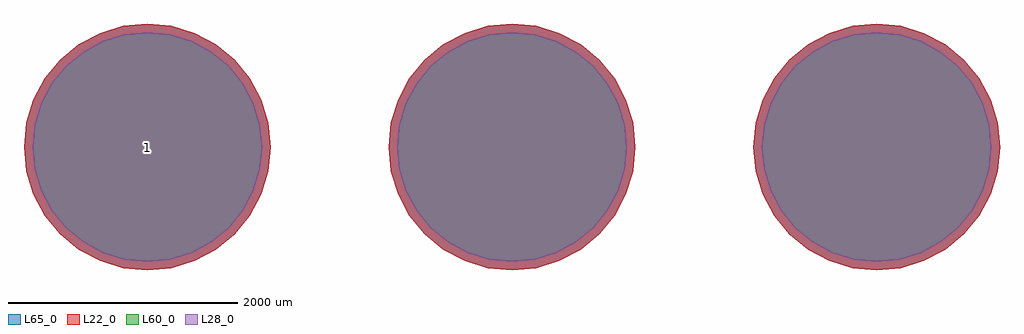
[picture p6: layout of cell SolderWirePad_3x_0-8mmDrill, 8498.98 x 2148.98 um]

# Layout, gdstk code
import gdstk
lib = gdstk.Library(unit=1e-6, precision=1e-09)
def P(c, l, *ps):  # polygons
    for p in ps: c.add(gdstk.Polygon(p, *l))
L22_0 = (22, 0)
L28_0 = (28, 0)
L60_0 = (60, 0)
L65_0 = (65, 0)

solderwirepad_3x_0_8mmdr = lib.new_cell('SolderWirePad_3x_0-8mmDrill')
P(solderwirepad_3x_0_8mmdr, L22_0, [(4249.49,0),(4228.844,209.623),(4167.699,411.19),(4068.406,596.955),(3934.779,759.779),(3771.955,893.406),(3586.19,992.699),(3384.623,1053.844),(3175,1074.49),(2965.377,1053.844),(2763.81,992.699),(2578.045,893.406),(2415.221,759.779),(2281.594,596.955),(2182.301,411.19),(2121.156,209.623),(2100.51,0),(2121.156,-209.623),(2182.301,-411.19),(2281.594,-596.955),(2415.221,-759.779),(2578.045,-893.406),(2763.81,-992.699),(2965.377,-1053.844),(3175,-1074.49),(3384.623,-1053.844),(3586.19,-992.699),(3771.955,-893.406),(3934.779,-759.779),(4068.406,-596.955),(4167.699,-411.19),(4228.844,-209.623)],
  [(1074.49,0),(1053.844,209.623),(992.699,411.19),(893.406,596.955),(759.779,759.779),(596.955,893.406),(411.19,992.699),(209.623,1053.844),(0,1074.49),(-209.623,1053.844),(-411.19,992.699),(-596.955,893.406),(-759.779,759.779),(-893.406,596.955),(-992.699,411.19),(-1053.844,209.623),(-1074.49,0),(-1053.844,-209.623),(-992.699,-411.19),(-893.406,-596.955),(-759.779,-759.779),(-596.955,-893.406),(-411.19,-992.699),(-209.623,-1053.844),(0,-1074.49),(209.623,-1053.844),(411.19,-992.699),(596.955,-893.406),(759.779,-759.779),(893.406,-596.955),(992.699,-411.19),(1053.844,-209.623)],
  [(-2100.51,0),(-2121.156,209.623),(-2182.301,411.19),(-2281.594,596.955),(-2415.221,759.779),(-2578.045,893.406),(-2763.81,992.699),(-2965.377,1053.844),(-3175,1074.49),(-3384.623,1053.844),(-3586.19,992.699),(-3771.955,893.406),(-3934.779,759.779),(-4068.406,596.955),(-4167.699,411.19),(-4228.844,209.623),(-4249.49,0),(-4228.844,-209.623),(-4167.699,-411.19),(-4068.406,-596.955),(-3934.779,-759.779),(-3771.955,-893.406),(-3586.19,-992.699),(-3384.623,-1053.844),(-3175,-1074.49),(-2965.377,-1053.844),(-2763.81,-992.699),(-2578.045,-893.406),(-2415.221,-759.779),(-2281.594,-596.955),(-2182.301,-411.19),(-2121.156,-209.623)])
P(solderwirepad_3x_0_8mmdr, L28_0, [(4174.49,0),(4155.285,194.991),(4098.408,382.488),(4006.046,555.287),(3881.746,706.746),(3730.287,831.046),(3557.488,923.408),(3369.991,980.285),(3175,999.49),(2980.009,980.285),(2792.512,923.408),(2619.713,831.046),(2468.254,706.746),(2343.954,555.287),(2251.592,382.488),(2194.715,194.991),(2175.51,0),(2194.715,-194.991),(2251.592,-382.488),(2343.954,-555.287),(2468.254,-706.746),(2619.713,-831.046),(2792.512,-923.408),(2980.009,-980.285),(3175,-999.49),(3369.991,-980.285),(3557.488,-923.408),(3730.287,-831.046),(3881.746,-706.746),(4006.046,-555.287),(4098.408,-382.488),(4155.285,-194.991)],
  [(999.49,0),(980.285,194.991),(923.408,382.488),(831.046,555.287),(706.746,706.746),(555.287,831.046),(382.488,923.408),(194.991,980.285),(0,999.49),(-194.991,980.285),(-382.488,923.408),(-555.287,831.046),(-706.746,706.746),(-831.046,555.287),(-923.408,382.488),(-980.285,194.991),(-999.49,0),(-980.285,-194.991),(-923.408,-382.488),(-831.046,-555.287),(-706.746,-706.746),(-555.287,-831.046),(-382.488,-923.408),(-194.991,-980.285),(0,-999.49),(194.991,-980.285),(382.488,-923.408),(555.287,-831.046),(706.746,-706.746),(831.046,-555.287),(923.408,-382.488),(980.285,-194.991)],
  [(-2175.51,0),(-2194.715,194.991),(-2251.592,382.488),(-2343.954,555.287),(-2468.254,706.746),(-2619.713,831.046),(-2792.512,923.408),(-2980.009,980.285),(-3175,999.49),(-3369.991,980.285),(-3557.488,923.408),(-3730.287,831.046),(-3881.746,706.746),(-4006.046,555.287),(-4098.408,382.488),(-4155.285,194.991),(-4174.49,0),(-4155.285,-194.991),(-4098.408,-382.488),(-4006.046,-555.287),(-3881.746,-706.746),(-3730.287,-831.046),(-3557.488,-923.408),(-3369.991,-980.285),(-3175,-999.49),(-2980.009,-980.285),(-2792.512,-923.408),(-2619.713,-831.046),(-2468.254,-706.746),(-2343.954,-555.287),(-2251.592,-382.488),(-2194.715,-194.991)])
P(solderwirepad_3x_0_8mmdr, L60_0, [(4174.49,0),(4155.285,194.991),(4098.408,382.488),(4006.046,555.287),(3881.746,706.746),(3730.287,831.046),(3557.488,923.408),(3369.991,980.285),(3175,999.49),(2980.009,980.285),(2792.512,923.408),(2619.713,831.046),(2468.254,706.746),(2343.954,555.287),(2251.592,382.488),(2194.715,194.991),(2175.51,0),(2194.715,-194.991),(2251.592,-382.488),(2343.954,-555.287),(2468.254,-706.746),(2619.713,-831.046),(2792.512,-923.408),(2980.009,-980.285),(3175,-999.49),(3369.991,-980.285),(3557.488,-923.408),(3730.287,-831.046),(3881.746,-706.746),(4006.046,-555.287),(4098.408,-382.488),(4155.285,-194.991)],
  [(999.49,0),(980.285,194.991),(923.408,382.488),(831.046,555.287),(706.746,706.746),(555.287,831.046),(382.488,923.408),(194.991,980.285),(0,999.49),(-194.991,980.285),(-382.488,923.408),(-555.287,831.046),(-706.746,706.746),(-831.046,555.287),(-923.408,382.488),(-980.285,194.991),(-999.49,0),(-980.285,-194.991),(-923.408,-382.488),(-831.046,-555.287),(-706.746,-706.746),(-555.287,-831.046),(-382.488,-923.408),(-194.991,-980.285),(0,-999.49),(194.991,-980.285),(382.488,-923.408),(555.287,-831.046),(706.746,-706.746),(831.046,-555.287),(923.408,-382.488),(980.285,-194.991)],
  [(-2175.51,0),(-2194.715,194.991),(-2251.592,382.488),(-2343.954,555.287),(-2468.254,706.746),(-2619.713,831.046),(-2792.512,923.408),(-2980.009,980.285),(-3175,999.49),(-3369.991,980.285),(-3557.488,923.408),(-3730.287,831.046),(-3881.746,706.746),(-4006.046,555.287),(-4098.408,382.488),(-4155.285,194.991),(-4174.49,0),(-4155.285,-194.991),(-4098.408,-382.488),(-4006.046,-555.287),(-3881.746,-706.746),(-3730.287,-831.046),(-3557.488,-923.408),(-3369.991,-980.285),(-3175,-999.49),(-2980.009,-980.285),(-2792.512,-923.408),(-2619.713,-831.046),(-2468.254,-706.746),(-2343.954,-555.287),(-2251.592,-382.488),(-2194.715,-194.991)])
P(solderwirepad_3x_0_8mmdr, L65_0, [(4249.49,0),(4228.844,209.623),(4167.699,411.19),(4068.406,596.955),(3934.779,759.779),(3771.955,893.406),(3586.19,992.699),(3384.623,1053.844),(3175,1074.49),(2965.377,1053.844),(2763.81,992.699),(2578.045,893.406),(2415.221,759.779),(2281.594,596.955),(2182.301,411.19),(2121.156,209.623),(2100.51,0),(2121.156,-209.623),(2182.301,-411.19),(2281.594,-596.955),(2415.221,-759.779),(2578.045,-893.406),(2763.81,-992.699),(2965.377,-1053.844),(3175,-1074.49),(3384.623,-1053.844),(3586.19,-992.699),(3771.955,-893.406),(3934.779,-759.779),(4068.406,-596.955),(4167.699,-411.19),(4228.844,-209.623)],
  [(1074.49,0),(1053.844,209.623),(992.699,411.19),(893.406,596.955),(759.779,759.779),(596.955,893.406),(411.19,992.699),(209.623,1053.844),(0,1074.49),(-209.623,1053.844),(-411.19,992.699),(-596.955,893.406),(-759.779,759.779),(-893.406,596.955),(-992.699,411.19),(-1053.844,209.623),(-1074.49,0),(-1053.844,-209.623),(-992.699,-411.19),(-893.406,-596.955),(-759.779,-759.779),(-596.955,-893.406),(-411.19,-992.699),(-209.623,-1053.844),(0,-1074.49),(209.623,-1053.844),(411.19,-992.699),(596.955,-893.406),(759.779,-759.779),(893.406,-596.955),(992.699,-411.19),(1053.844,-209.623)],
  [(-2100.51,0),(-2121.156,209.623),(-2182.301,411.19),(-2281.594,596.955),(-2415.221,759.779),(-2578.045,893.406),(-2763.81,992.699),(-2965.377,1053.844),(-3175,1074.49),(-3384.623,1053.844),(-3586.19,992.699),(-3771.955,893.406),(-3934.779,759.779),(-4068.406,596.955),(-4167.699,411.19),(-4228.844,209.623),(-4249.49,0),(-4228.844,-209.623),(-4167.699,-411.19),(-4068.406,-596.955),(-3934.779,-759.779),(-3771.955,-893.406),(-3586.19,-992.699),(-3384.623,-1053.844),(-3175,-1074.49),(-2965.377,-1053.844),(-2763.81,-992.699),(-2578.045,-893.406),(-2415.221,-759.779),(-2281.594,-596.955),(-2182.301,-411.19),(-2121.156,-209.623)])
solderwirepad_3x_0_8mmdr.add(gdstk.Label('1', (-3175,0), layer=28, texttype=0))
solderwirepad_3x_0_8mmdr.add(gdstk.Label('type', (0,-2540), layer=9, texttype=0))
solderwirepad_3x_0_8mmdr.add(gdstk.Label('devicename', (0,2540), layer=9, texttype=0))

lib.write_gds('SolderWirePad_3x_0-8mmDrill.gds')
